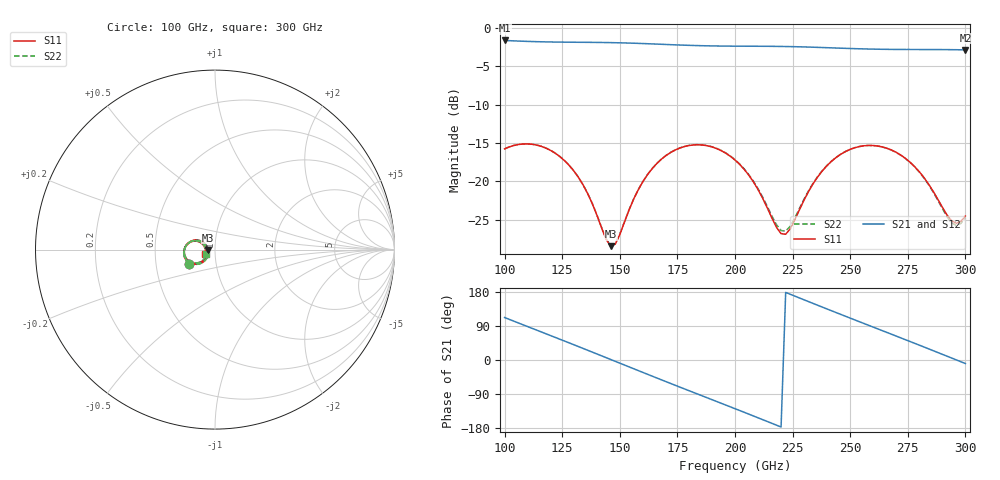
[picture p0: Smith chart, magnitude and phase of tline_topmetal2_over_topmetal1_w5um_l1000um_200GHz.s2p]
#  GHZ S DB R 50
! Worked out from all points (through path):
!   101 points, 100 GHz to 300 GHz, reference 50 ohm
!   highest |S21| = -1.60 dB at 100 GHz (marker M1); lowest = -2.8 dB at 300 GHz (marker M2)
!   group delay of S21, straight-line fit = 6.69 ps
!   lowest |S11| = -28.5 dB at 146 GHz (marker M3), VSWR 1.08, Z = 46.4 - j0.146 ohm
!   |S11| at or under -10 dB: start of sweep to end of sweep
!   |S22| runs from -28.4 to -15.1 dB; largest |S21 - S12| = 0
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100  -15.76 -151.2  -1.60 112.1  -1.60 112.1  -15.75 -151.0
108  -15.12 -167.3  -1.70 92.9  -1.70 92.9  -15.11 -167.1
116  -15.43 176.9  -1.78 73.9  -1.78 73.9  -15.42 177.2
126  -17.29 158.8  -1.82 50.0  -1.82 50.0  -17.27 159.2
134  -20.43 148.7  -1.84 30.7  -1.84 30.7  -20.40 149.1
146  -28.45 -177.6  -1.89 1.5  -1.89 1.5  -28.37 -177.4
148  -28.20 -160.2  -1.90 -3.4  -1.90 -3.4  -28.12 -160.1
156  -22.32 -132.4  -1.96 -23.0  -1.96 -23.0  -22.30 -132.3
168  -17.11 -144.4  -2.10 -52.2  -2.10 -52.2  -17.10 -144.1
184  -15.22 -172.8  -2.28 -90.4  -2.28 -90.4  -15.20 -172.3
200  -17.21 159.9  -2.35 -128.5  -2.35 -128.5  -17.16 160.7
210  -21.06 150.7  -2.36 -152.5  -2.36 -152.5  -20.95 151.8
220  -26.82 178.5  -2.39 -176.8  -2.39 -176.8  -26.42 178.8
224  -26.18 -155.5  -2.41 173.4  -2.41 173.4  -25.85 -156.6
234  -20.25 -138.0  -2.49 149.1  -2.49 149.1  -20.18 -139.2
244  -16.85 -149.0  -2.59 124.9  -2.59 124.9  -16.83 -149.8
252  -15.60 -161.9  -2.67 105.8  -2.67 105.8  -15.60 -162.5
268  -15.92 171.3  -2.77 67.8  -2.77 67.8  -15.93 170.7
278  -18.08 157.8  -2.78 44.0  -2.78 44.0  -18.11 157.0
286  -21.29 154.6  -2.79 24.7  -2.79 24.7  -21.39 153.6
294  -25.13 174.3  -2.81 5.3  -2.81 5.3  -25.40 173.8
300  -24.52 -156.2  -2.83 -9.3  -2.83 -9.3  -24.75 -155.5
